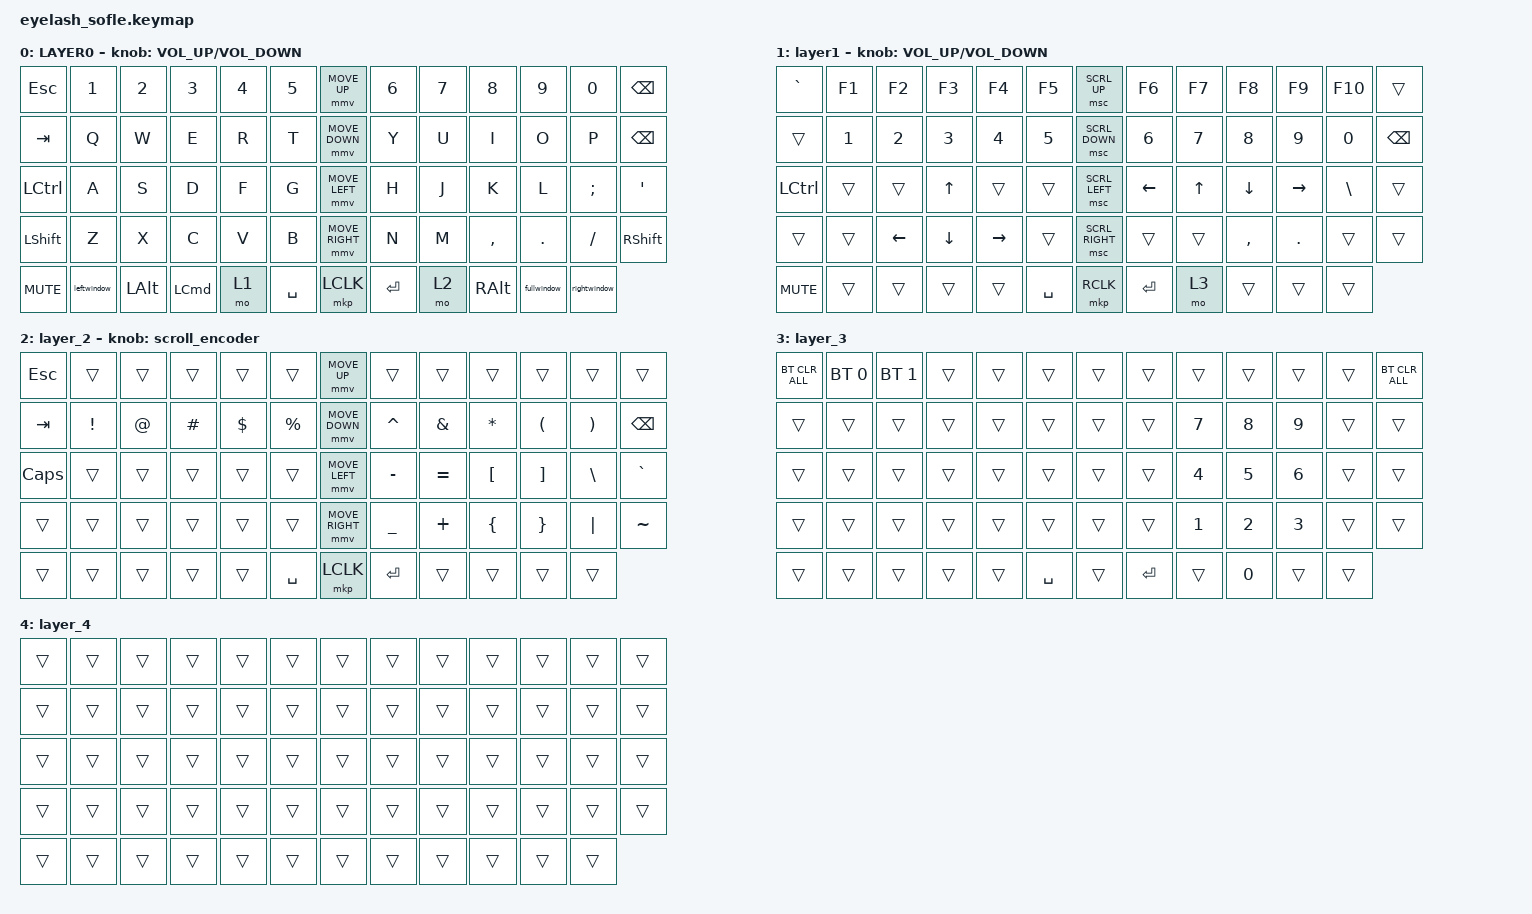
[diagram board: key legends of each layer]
#define ZMK_POINTING_DEFAULT_MOVE_VAL 1200  // 600
#define ZMK_POINTING_DEFAULT_SCRL_VAL 35    // 10

#include <input/processors.dtsi>
#include <zephyr/dt-bindings/input/input-event-codes.h>
#include <behaviors.dtsi>
#include <dt-bindings/zmk/bt.h>
#include <dt-bindings/zmk/keys.h>
#include <dt-bindings/zmk/pointing.h>

/ {
    zip_scroll_scaler: zip_scroll_scaler {
        compatible = "zmk,input-processor-scaler";
        #input-processor-cells = <2>;
        type = <INPUT_EV_REL>;
        codes = <INPUT_REL_WHEEL INPUT_REL_HWHEEL>;
        track-remainders;
    };
};

&mmv_input_listener { input-processors = <&zip_xy_scaler 2 1>; };

&msc_input_listener { input-processors = <&zip_scroll_scaler 2 1>; };

&msc {
    acceleration-exponent = <0>;      // 0
    time-to-max-speed-ms = <0>;       // 300
    delay-ms = <0>;                   // 0
};

&mmv {
    time-to-max-speed-ms = <400>;
    acceleration-exponent = <1>;
};

/ {
    scroll_encoder: scroll_encoder {
        compatible = "zmk,behavior-sensor-rotate";
        #sensor-binding-cells = <0>;
        bindings = <&msc SCRL_DOWN>, <&msc SCRL_UP>;

        tap-ms = <30>;
    };

    macros {
        leftwindow: leftwindow {
            compatible = "zmk,behavior-macro";
            #binding-cells = <0>;
            bindings =
                <&macro_press>,
                <&kp LEFT_CONTROL &kp LEFT_ALT &kp LEFT_ARROW>,
                <&macro_release>,
                <&kp LEFT_CONTROL &kp LEFT_ALT &kp LEFT>;

            label = "LEFTWINDOW";
        };

        rightwindow: rightwindow {
            compatible = "zmk,behavior-macro";
            #binding-cells = <0>;
            bindings =
                <&macro_press>,
                <&kp LEFT_CONTROL &kp LEFT_ALT &kp RIGHT>,
                <&macro_release>,
                <&kp LEFT_CONTROL &kp LEFT_ALT &kp RIGHT>;

            label = "RIGHTWINDOW";
        };

        fullwindow: fullwindow {
            compatible = "zmk,behavior-macro";
            #binding-cells = <0>;
            bindings =
                <&macro_press>,
                <&kp LEFT_CONTROL &kp LEFT_ALT &kp ENTER>,
                <&macro_release>,
                <&kp LEFT_CONTROL &kp LEFT_ALT &kp ENTER>;

            label = "FULLWINDOW";
        };
    };

    behaviors {
    };

    keymap {
        compatible = "zmk,keymap";

        layer0 {
            bindings = <
&kp ESC     &kp N1       &kp N2        &kp N3            &kp N4  &kp N5       &mmv MOVE_UP     &kp N6     &kp N7  &kp N8         &kp N9       &kp N0        &kp BACKSPACE
&kp TAB     &kp Q        &kp W         &kp E             &kp R   &kp T        &mmv MOVE_DOWN   &kp Y      &kp U   &kp I          &kp O        &kp P         &kp BACKSPACE
&kp LCTRL   &kp A        &kp S         &kp D             &kp F   &kp G        &mmv MOVE_LEFT   &kp H      &kp J   &kp K          &kp L        &kp SEMI      &kp APOS
&kp LSHFT   &kp Z        &kp X         &kp C             &kp V   &kp B        &mmv MOVE_RIGHT  &kp N      &kp M   &kp COMMA      &kp DOT      &kp FSLH      &kp RIGHT_SHIFT
&kp C_MUTE  &leftwindow  &kp LEFT_ALT  &kp LEFT_COMMAND  &mo 1   &kp SPACE    &mkp LCLK        &kp ENTER  &mo 2   &kp RIGHT_ALT  &fullwindow  &rightwindow
            >;

            sensor-bindings = <&inc_dec_kp C_VOLUME_UP C_VOLUME_DOWN>;
            display-name = "LAYER0";
        };

        layer_1 {
            bindings = <
&kp GRAVE         &kp F1        &kp F2        &kp F3          &kp F4           &kp F5       &msc SCRL_UP     &kp F6          &kp F7        &kp F8          &kp F9           &kp F10        &trans
&trans            &kp NUMBER_1  &kp NUMBER_2  &kp NUMBER_3    &kp NUMBER_4     &kp N5       &msc SCRL_DOWN   &kp NUMBER_6    &kp N7        &kp N8          &kp N9           &kp N0         &kp BACKSPACE
&kp LEFT_CONTROL  &trans        &trans        &kp UP_ARROW    &trans           &trans       &msc SCRL_LEFT   &kp LEFT_ARROW  &kp UP_ARROW  &kp DOWN_ARROW  &kp RIGHT_ARROW  &kp BACKSLASH  &trans
&trans            &trans        &kp LEFT      &kp DOWN_ARROW  &kp RIGHT_ARROW  &trans       &msc SCRL_RIGHT  &trans          &trans        &kp COMMA       &kp PERIOD       &trans         &trans
&kp C_MUTE        &trans        &trans        &trans          &trans           &kp SPACE    &mkp RCLK        &kp ENTER       &mo 3         &trans          &trans           &trans
            >;

            display-name = "layer1";
            sensor-bindings = <&inc_dec_kp C_VOLUME_UP C_VOLUME_DOWN>;
        };

        layer_2 {
            bindings = <
&kp ESC       &trans           &trans       &trans    &trans      &trans         &mmv MOVE_UP     &trans          &trans         &trans            &trans                &trans                 &trans
&kp TAB       &kp EXCLAMATION  &kp AT_SIGN  &kp HASH  &kp DOLLAR  &kp PERCENT    &mmv MOVE_DOWN   &kp CARET       &kp AMPERSAND  &kp ASTERISK      &kp LEFT_PARENTHESIS  &kp RIGHT_PARENTHESIS  &kp BACKSPACE
&kp CAPSLOCK  &trans           &trans       &trans    &trans      &trans         &mmv MOVE_LEFT   &kp MINUS       &kp EQUAL      &kp LEFT_BRACKET  &kp RIGHT_BRACKET     &kp BACKSLASH          &kp GRAVE
&trans        &trans           &trans       &trans    &trans      &trans         &mmv MOVE_RIGHT  &kp UNDERSCORE  &kp PLUS       &kp LEFT_BRACE    &kp RIGHT_BRACE       &kp PIPE               &kp TILDE
&trans        &trans           &trans       &trans    &trans      &kp SPACE      &mkp LCLK        &kp ENTER       &trans         &trans            &trans                &trans
            >;

            sensor-bindings = <&scroll_encoder>;
        };

        layer_3 {
            bindings = <
&bt BT_CLR_ALL  &bt BT_SEL 0  &bt BT_SEL 1  &trans  &trans  &trans       &trans  &trans     &trans        &trans        &trans        &trans  &bt BT_CLR_ALL
&trans          &trans        &trans        &trans  &trans  &trans       &trans  &trans     &kp N7        &kp N8        &kp N9        &trans  &trans
&trans          &trans        &trans        &trans  &trans  &trans       &trans  &trans     &kp NUMBER_4  &kp N5        &kp NUMBER_6  &trans  &trans
&trans          &trans        &trans        &trans  &trans  &trans       &trans  &trans     &kp NUMBER_1  &kp NUMBER_2  &kp NUMBER_3  &trans  &trans
&trans          &trans        &trans        &trans  &trans  &kp SPACE    &trans  &kp ENTER  &trans        &kp NUMBER_0  &trans        &trans
            >;
        };

        layer_4 {
            bindings = <
&trans  &trans  &trans  &trans  &trans  &trans    &trans  &trans  &trans  &trans  &trans  &trans  &trans
&trans  &trans  &trans  &trans  &trans  &trans    &trans  &trans  &trans  &trans  &trans  &trans  &trans
&trans  &trans  &trans  &trans  &trans  &trans    &trans  &trans  &trans  &trans  &trans  &trans  &trans
&trans  &trans  &trans  &trans  &trans  &trans    &trans  &trans  &trans  &trans  &trans  &trans  &trans
&trans  &trans  &trans  &trans  &trans  &trans    &trans  &trans  &trans  &trans  &trans  &trans
            >;
        };
    };
};
